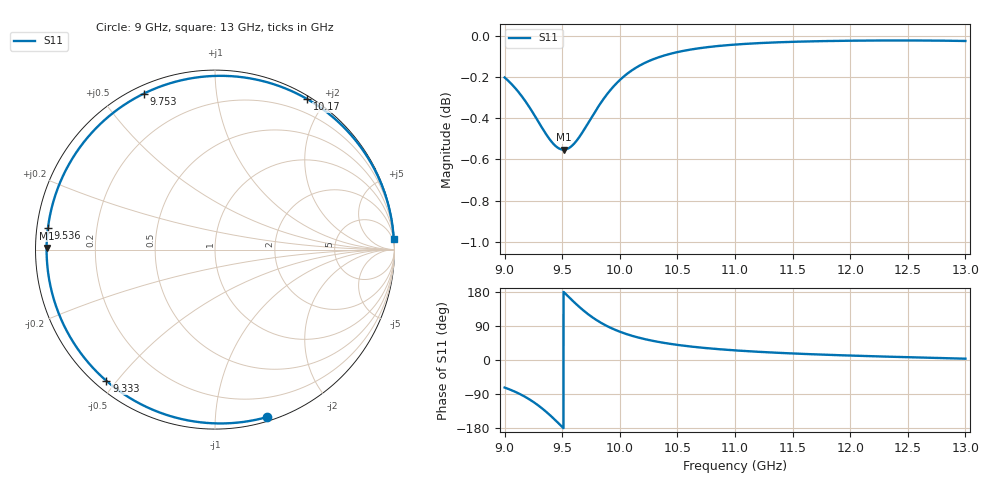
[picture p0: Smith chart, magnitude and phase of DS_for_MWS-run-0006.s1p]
! TOUCHSTONE file generated by CST DESIGN STUDIO
! Date and time: Tue Feb  4 13:10:28 2025
! Project name: C:\Work\MatlabApps\UnitCellOptimizationMatlab\CST\unitcell.cst
! Tree item: Tasks\Sweep1\SPara1\S-Parameters
! Header version: 2024
! Port assignment regex: !\s*Touchstone port\s*([0-9]+)\s*=\s*(CST MWS port|CST DES external port|CST DES block port)\s*(.+)\s* \(\"(.*)\"\)(\s*mode\s*([0-9]+))?.*
! Touchstone port assignment:
! Touchstone port 1 = CST DES external port 1 ("")
# GHz S MA R 50
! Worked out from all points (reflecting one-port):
!   4001 points, 9 GHz to 13 GHz, reference 50 ohm
!   lowest |S11| = -0.6 dB at 9.513 GHz (marker M1), VSWR 31.46, Z = 1.59 + j0.236 ohm
!   phase of S11 starts at -73 deg and turns -284 deg over the sweep
!   S11 on the Smith chart (normalised r, x): 9 GHz: 0.03, -1.36; 9.333 GHz: 0.03, -0.47; 9.536 GHz: 0.03, +0.07; 9.753 GHz: 0.03, +0.64; 10.17 GHz: 0.03, +1.79; 13 GHz: 2, +33
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9  0.9771 -72.7
9.09  0.9714 -83.7
9.194  0.9629 -100.0
9.267  0.9558 -114.3
9.333  0.9492 -129.6
9.378  0.9449 -141.2
9.425  0.9413 -154.3
9.463  0.9394 -165.5
9.5  0.9384 -176.6
9.513  0.9384 179.5
9.536  0.9386 172.5
9.589  0.9407 156.7
9.649  0.9451 139.9
9.7  0.9499 126.8
9.753  0.9553 114.6
9.804  0.9604 104.2
9.86  0.9655 94.2
10  0.9757 74.7
10.082  0.98 66.1
10.171  0.9836 58.5
10.321  0.9878 48.5
10.5  0.9911 39.9
10.722  0.9935 32.2
11  0.9952 25.4
11.5  0.9968 17.2
12  0.9974 11.7
12.5  0.9975 7.4
13  0.9972 3.5
